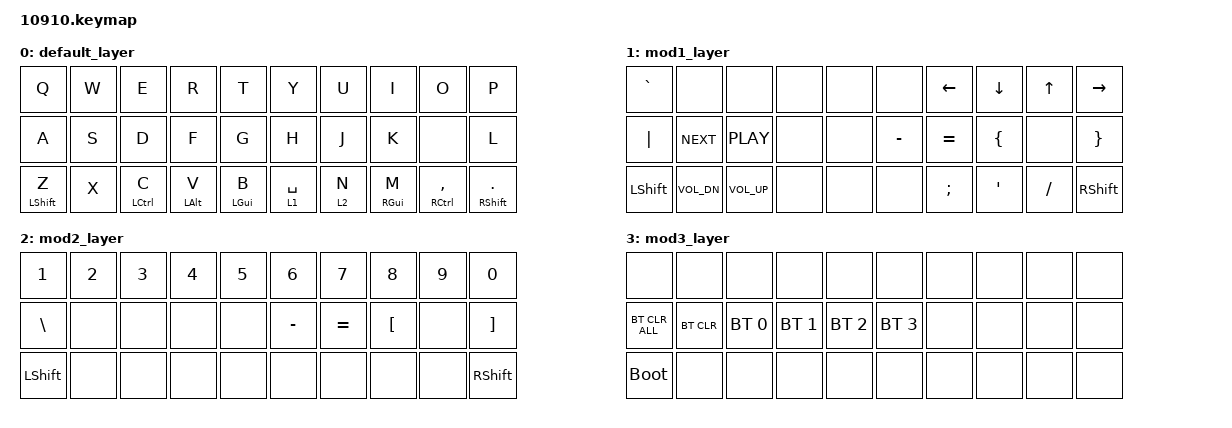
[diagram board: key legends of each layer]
#include <behaviors.dtsi>
#include <dt-bindings/zmk/keys.h>
#include <dt-bindings/zmk/rgb.h>
#include <dt-bindings/zmk/bt.h>

/ {
    behaviors {
        hm: homerow_mod {
            compatible = "zmk,behavior-hold-tap";
            #binding-cells = <2>;
            flavor = "tap-preferred";
            tapping-term-ms = <200>;
            bindings = <&kp>, <&kp>;
        };
    };

    combos {
        compatible = "zmk,combos";

        combo_esc {
            timeout-ms = <50>;
            key-positions = <0 1>;
            bindings = <&kp ESC>;
        };

        combo_bspc {
            timeout-ms = <50>;
            key-positions = <8 9>;
            bindings = <&kp BACKSPACE>;
        };

        combo_tab {
            timeout-ms = <50>;
            key-positions = <10 11>;
            bindings = <&kp TAB>;
        };

        combo_del {
            timeout-ms = <50>;
            key-positions = <7 8>;
            bindings = <&kp DELETE>;
        };

        combo_enter {
            timeout-ms = <50>;
            key-positions = <17 19>;
            bindings = <&kp RETURN>;
        };

        combo_mothree {
            timeout-ms = <50>;
            key-positions = <4 5>;
            bindings = <&mo 3>;
        };
    };

    keymap {
        compatible = "zmk,keymap";

        default_layer {
            bindings = <
                &kp Q        &kp W        &kp E        &kp R        &kp T        &kp Y        &kp U        &kp I        &kp O           &kp P
                &kp A        &kp S        &kp D        &kp F        &kp G        &kp H        &kp J        &kp K        &none           &kp L
                &hm LSHFT Z  &kp X        &hm LCTRL C  &hm LALT V   &hm LGUI B   &lt 1 SPACE  &lt 2 N      &hm RGUI M   &hm RCTRL COMMA &hm RSHFT DOT
            >;
        };

        mod1_layer {
            bindings = <
                &kp GRAVE  &none           &none         &none  &none  &none         &kp LEFT      &kp DOWN  &kp UP     &kp RIGHT
                &kp PIPE   &kp C_NEXT      &kp C_PLAY    &none  &none  &kp MINUS     &kp EQUAL     &kp LBRC  &none      &kp RBRC
                &kp LSHFT  &kp C_VOL_DN    &kp C_VOL_UP  &none  &none  &none         &kp SEMI      &kp SQT   &kp SLASH  &kp RSHFT
            >;
        };

        mod2_layer {
            bindings = <
                &kp N1     &kp N2   &kp N3    &kp N4    &kp N5  &kp N6     &kp N7     &kp N8     &kp N9      &kp N0
                &kp BSLH   &none    &none     &none     &none   &kp MINUS  &kp EQUAL  &kp LBKT   &none       &kp RBKT
                &kp LSHFT  &none    &none     &none     &none   &none      &none      &none      &none       &kp RSHFT
            >;
        };

        mod3_layer {
            bindings = <
                &none           &none            &none            &none            &none           &none          &none       &none       &none       &none
                &bt BT_CLR_ALL  &bt BT_CLR       &bt BT_SEL 0     &bt BT_SEL 1     &bt BT_SEL 2    &bt BT_SEL 3   &none       &none       &none       &none
                &bootloader     &none            &none            &none            &none           &none          &none       &none       &none       &none
            >;
        };
    };
};
